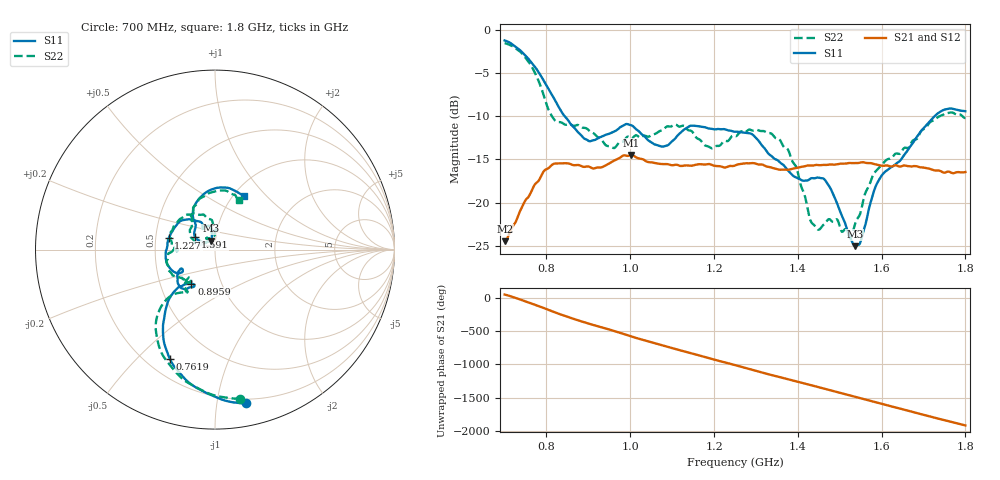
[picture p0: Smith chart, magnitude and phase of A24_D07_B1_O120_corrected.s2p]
! Created with skrf 1.9.0 (http://scikit-rf.org).
# Hz S RI R 50.0
!freq ReS11 ImS11 ReS21 ImS21 ReS12 ImS12 ReS22 ImS22
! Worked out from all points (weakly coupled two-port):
!   1601 points, 700 MHz to 1.8 GHz, reference 50 ohm
!   highest |S21| = -14.49 dB at 1.002 GHz (marker M1); lowest = -24.5 dB at 700.7 MHz (marker M2)
!   lowest |S11| = -25.1 dB at 1.536 GHz (marker M3), VSWR 1.12, Z = 47.4 + j4.78 ohm
!   |S11| at or under -10 dB: 843.8 MHz to 1.726 GHz (882.2 MHz wide, 68.7 % of centre)
!   |S22| runs from -24.1 to -1.5 dB; largest |S21 - S12| = 0.0035
!   S11 on the Smith chart (normalised r, x): 700 MHz: 0.17, -1.21; 761.9 MHz: 0.29, -0.63; 895.9 MHz: 0.72, -0.29; 1.227 GHz: 0.59, +0.08; 1.591 GHz: 0.79, +0.11; 1.8 GHz: 1.12, +0.75
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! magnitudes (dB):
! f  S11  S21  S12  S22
! 700 MHz  -1.2  -24.5  -24.3  -1.5
! 700.7 MHz  -1.2  -24.5  -24.2  -1.5
! 761.9 MHz  -3.6  -18.9  -18.9  -4.0
! 818.2 MHz  -7.9  -15.5  -15.6  -10.4
! 883.6 MHz  -12.2  -15.8  -15.7  -11.2
! 895.9 MHz  -12.7  -15.8  -15.9  -11.4
! 957.8 MHz  -11.8  -15.2  -15.2  -13.6
! 1.002 GHz  -11.0  -14.5  -14.6  -12.5
! 1.067 GHz  -13.4  -15.5  -15.4  -11.8
! 1.145 GHz  -11.1  -15.7  -15.7  -11.7
! 1.227 GHz  -11.5  -15.9  -15.9  -12.8
! 1.25 GHz  -11.8  -15.7  -15.6  -12.3
! 1.357 GHz  -15.3  -16.2  -16.1  -12.7
! 1.396 GHz  -17.1  -16.0  -16.0  -15.8
! 1.434 GHz  -17.2  -15.7  -15.7  -22.4
! 1.472 GHz  -17.9  -15.6  -15.6  -22.0
! 1.525 GHz  -24.1  -15.4  -15.4  -24.1
! 1.536 GHz  -25.1  -15.4  -15.4  -22.6
! 1.591 GHz  -17.6  -15.6  -15.6  -16.1
! 1.617 GHz  -16.1  -15.8  -15.7  -14.9
! 1.735 GHz  -9.6  -16.3  -16.3  -10.1
! 1.8 GHz  -9.4  -16.5  -16.5  -10.2
